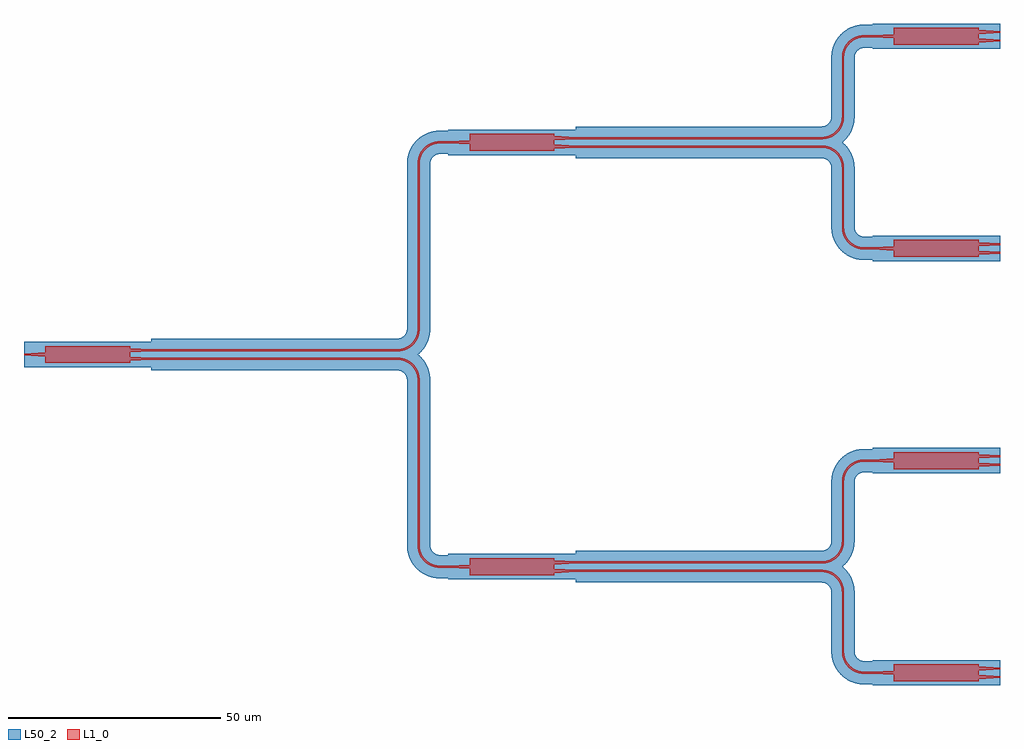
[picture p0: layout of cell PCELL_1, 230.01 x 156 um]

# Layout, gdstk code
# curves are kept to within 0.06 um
import gdstk
lib = gdstk.Library(unit=1e-6, precision=1e-09)
def R(c, l, rs):  # rectangles x0, y0, x1, y1
    for r in rs: c.add(gdstk.rectangle(r[:2], r[2:], *l))
def P(c, l, *ps):  # polygons
    for p in ps: c.add(gdstk.Polygon(p, *l))
L1_0 = (1, 0)
L50_2 = (50, 2)

mmi1x2_2 = lib.new_cell('MMI1x2_2')
R(mmi1x2_2, L1_0, [(0,-2,20.006,2)])
P(mmi1x2_2, L1_0, [(-5,-0.225),(-5,0.225),(0,0.5),(0,-0.5)],
  [(20.006,0.5),(20.006,1.5),(25.006,1.225),(25.006,0.775)],
  [(20.006,-1.5),(20.006,-0.5),(25.006,-0.775),(25.006,-1.225)])
R(mmi1x2_2, L50_2, [(-5,-3,25.006,3)])

pcell_1_sp_0_0_out1_to_s = lib.new_cell('PCELL_1_sp_0_0_out1_to_sp_1_0_in1')
P(pcell_1_sp_0_0_out1_to_s, L1_0, [(25.006,-1.225),(83.082,-1.226),(83.82,-1.296),(84.46,-1.454),(85.146,-1.734),(85.713,-2.07),(86.519,-2.772),(87.149,-3.636),(87.571,-4.619),(87.769,-5.753),(87.775,-45.001),(87.869,-45.986),(88.181,-47.02),(88.752,-48.042),(89.468,-48.851),(90.336,-49.495),(91.232,-49.917),(92.192,-50.162),(92.82,-50.222),(95,-50.225),(95,-49.775),(92.835,-49.772),(92.18,-49.704),(91.307,-49.465),(90.425,-49.021),(89.712,-48.463),(89.07,-47.713),(88.596,-46.846),(88.311,-45.901),(88.225,-44.999),(88.218,-5.73),(88.027,-4.575),(87.584,-3.492),(86.851,-2.468),(85.968,-1.7),(85.267,-1.292),(84.511,-0.998),(83.808,-0.838),(83.001,-0.775),(25.006,-0.775)])
P(pcell_1_sp_0_0_out1_to_s, L50_2, [(25.006,-3.725),(83.039,-3.725),(83.733,-3.846),(84.324,-4.15),(84.996,-4.908),(85.189,-5.38),(85.274,-5.921),(85.275,-45.012),(85.44,-46.589),(85.928,-48.11),(86.642,-49.388),(87.681,-50.602),(88.834,-51.505),(90.136,-52.175),(91.542,-52.586),(92.6,-52.715),(95,-52.725),(95,-47.275),(92.882,-47.272),(92.048,-47.066),(91.582,-46.779),(91.197,-46.387),(90.902,-45.88),(90.752,-45.352),(90.707,-5.467),(90.395,-3.765),(89.712,-2.176),(88.693,-0.778),(87.388,0.358),(86.352,0.96),(85.362,1.355),(84.195,1.632),(83.133,1.724),(25.006,1.725)])

pcell_1_sp_0_0_out2_to_s = lib.new_cell('PCELL_1_sp_0_0_out2_to_sp_1_1_in1')
P(pcell_1_sp_0_0_out2_to_s, L1_0, [(25.006,0.775),(83.09,0.776),(83.897,0.853),(84.683,1.053),(85.428,1.373),(86.042,1.752),(86.911,2.535),(87.584,3.492),(88.027,4.575),(88.218,5.73),(88.225,44.999),(88.296,45.82),(88.565,46.77),(89.024,47.644),(89.595,48.347),(90.356,48.976),(91.23,49.435),(92.18,49.704),(92.835,49.772),(95,49.775),(95,50.225),(92.82,50.222),(92.192,50.162),(91.232,49.917),(90.336,49.495),(89.468,48.851),(88.752,48.042),(88.181,47.02),(87.869,45.986),(87.775,45.001),(87.769,5.753),(87.571,4.619),(87.149,3.636),(86.519,2.772),(85.713,2.07),(85.146,1.734),(84.46,1.454),(83.82,1.296),(83.082,1.226),(25.006,1.225)])
P(pcell_1_sp_0_0_out2_to_s, L50_2, [(25.006,-1.725),(83.133,-1.724),(84.458,-1.586),(85.614,-1.269),(86.708,-0.777),(87.712,-0.122),(88.87,0.978),(89.777,2.292),(90.395,3.765),(90.707,5.467),(90.752,45.352),(90.902,45.88),(91.197,46.387),(91.582,46.779),(92.048,47.066),(92.882,47.272),(95,47.275),(95,52.725),(92.6,52.715),(91.542,52.586),(90.136,52.175),(88.834,51.505),(87.681,50.602),(86.642,49.388),(85.928,48.11),(85.44,46.589),(85.275,45.012),(85.275,5.961),(85.05,5.013),(84.418,4.221),(83.77,3.859),(83.039,3.725),(25.006,3.725)])

pcell_1_sp_1_0_out1_to_s = lib.new_cell('PCELL_1_sp_1_0_out1_to_sp_2_0_in1')
P(pcell_1_sp_1_0_out1_to_s, L1_0, [(125.006,-51.225),(182.999,-51.225),(183.82,-51.296),(184.538,-51.48),(185.146,-51.734),(185.713,-52.07),(186.628,-52.896),(187.302,-53.928),(187.546,-54.54),(187.704,-55.18),(187.775,-56.001),(187.778,-70.18),(187.906,-71.163),(188.217,-72.103),(188.649,-72.893),(189.274,-73.663),(189.958,-74.248),(190.815,-74.746),(191.575,-75.027),(192.37,-75.187),(195,-75.225),(195,-74.775),(192.343,-74.73),(191.54,-74.546),(190.781,-74.228),(190.153,-73.834),(189.481,-73.228),(188.979,-72.575),(188.596,-71.846),(188.327,-70.982),(188.228,-70.165),(188.225,-55.999),(188.131,-55.014),(187.708,-53.733),(187.351,-53.107),(186.911,-52.535),(185.893,-51.649),(184.683,-51.053),(183.808,-50.838),(183.001,-50.775),(125.006,-50.775)])
P(pcell_1_sp_1_0_out1_to_s, L50_2, [(125.006,-53.725),(183.039,-53.725),(183.733,-53.846),(184.324,-54.15),(184.779,-54.582),(185.098,-55.12),(185.263,-55.765),(185.285,-70.4),(185.499,-71.849),(186.04,-73.352),(186.642,-74.388),(187.491,-75.415),(188.503,-76.281),(189.648,-76.96),(190.765,-77.395),(191.937,-77.652),(195,-77.725),(195,-72.275),(192.882,-72.272),(192.12,-72.098),(191.676,-71.85),(191.246,-71.449),(190.95,-70.987),(190.766,-70.429),(190.724,-55.867),(190.632,-54.805),(190.355,-53.638),(189.645,-52.061),(188.509,-50.585),(187.053,-49.424),(185.488,-48.687),(184.195,-48.368),(183.012,-48.275),(125.006,-48.275)])

pcell_1_sp_1_0_out2_to_s = lib.new_cell('PCELL_1_sp_1_0_out2_to_sp_2_1_in1')
P(pcell_1_sp_1_0_out2_to_s, L1_0, [(125.006,-49.225),(183.001,-49.225),(183.808,-49.162),(184.683,-48.947),(185.893,-48.351),(186.911,-47.465),(187.351,-46.893),(187.708,-46.267),(188.131,-44.986),(188.225,-44.001),(188.228,-29.835),(188.327,-29.018),(188.596,-28.154),(188.979,-27.425),(189.481,-26.772),(190.088,-26.216),(190.781,-25.772),(191.54,-25.454),(192.343,-25.27),(195,-25.225),(195,-24.775),(192.37,-24.813),(191.575,-24.973),(190.815,-25.254),(189.958,-25.752),(189.274,-26.337),(188.649,-27.107),(188.217,-27.897),(187.906,-28.837),(187.778,-29.82),(187.775,-43.999),(187.704,-44.82),(187.337,-45.997),(186.681,-47.041),(186.228,-47.519),(185.713,-47.93),(184.616,-48.493),(183.82,-48.704),(182.999,-48.775),(125.006,-48.775)])
P(pcell_1_sp_1_0_out2_to_s, L50_2, [(125.006,-51.725),(183.133,-51.724),(184.589,-51.56),(185.987,-51.124),(187.388,-50.358),(188.693,-49.222),(189.712,-47.824),(190.395,-46.235),(190.632,-45.195),(190.724,-44.133),(190.766,-29.571),(190.95,-29.013),(191.246,-28.551),(191.676,-28.15),(192.12,-27.902),(192.882,-27.728),(195,-27.725),(195,-22.275),(191.937,-22.348),(190.765,-22.605),(189.529,-23.099),(188.395,-23.798),(187.398,-24.681),(186.642,-25.612),(185.983,-26.769),(185.499,-28.151),(185.285,-29.6),(185.263,-44.235),(185.127,-44.807),(184.85,-45.324),(184.418,-45.779),(183.88,-46.098),(183.039,-46.275),(125.006,-46.275)])

pcell_1_sp_1_1_out1_to_s = lib.new_cell('PCELL_1_sp_1_1_out1_to_sp_2_2_in1')
P(pcell_1_sp_1_1_out1_to_s, L1_0, [(125.006,48.775),(182.999,48.775),(183.82,48.704),(184.538,48.52),(185.146,48.266),(185.713,47.93),(186.628,47.104),(187.302,46.072),(187.546,45.46),(187.704,44.82),(187.775,43.999),(187.778,29.82),(187.906,28.837),(188.217,27.897),(188.649,27.107),(189.274,26.337),(189.958,25.752),(190.815,25.254),(191.575,24.973),(192.37,24.813),(195,24.775),(195,25.225),(192.343,25.27),(191.54,25.454),(190.781,25.772),(190.153,26.166),(189.481,26.772),(188.979,27.425),(188.596,28.154),(188.327,29.018),(188.228,29.835),(188.225,44.001),(188.131,44.986),(187.708,46.267),(187.351,46.893),(186.911,47.465),(185.893,48.351),(184.683,48.947),(183.808,49.162),(183.001,49.225),(125.006,49.225)])
P(pcell_1_sp_1_1_out1_to_s, L50_2, [(125.006,46.275),(183.039,46.275),(183.733,46.154),(184.324,45.85),(184.779,45.418),(185.098,44.88),(185.263,44.235),(185.285,29.6),(185.499,28.151),(186.04,26.648),(186.642,25.612),(187.491,24.585),(188.503,23.719),(189.648,23.04),(190.765,22.605),(191.937,22.348),(195,22.275),(195,27.725),(192.882,27.728),(192.12,27.902),(191.676,28.15),(191.246,28.551),(190.95,29.013),(190.766,29.571),(190.724,44.133),(190.632,45.195),(190.355,46.362),(189.645,47.939),(188.509,49.415),(187.053,50.576),(185.488,51.313),(184.195,51.632),(183.012,51.725),(125.006,51.725)])

pcell_1_sp_1_1_out2_to_s = lib.new_cell('PCELL_1_sp_1_1_out2_to_sp_2_3_in1')
P(pcell_1_sp_1_1_out2_to_s, L1_0, [(125.006,50.775),(183.001,50.775),(183.808,50.838),(184.683,51.053),(185.893,51.649),(186.911,52.535),(187.351,53.107),(187.708,53.733),(188.131,55.014),(188.225,55.999),(188.228,70.165),(188.327,70.982),(188.596,71.846),(188.979,72.575),(189.481,73.228),(190.088,73.784),(190.781,74.228),(191.54,74.546),(192.343,74.73),(195,74.775),(195,75.225),(192.37,75.187),(191.575,75.027),(190.815,74.746),(189.958,74.248),(189.274,73.663),(188.649,72.893),(188.217,72.103),(187.906,71.163),(187.778,70.18),(187.775,56.001),(187.704,55.18),(187.337,54.003),(186.681,52.959),(186.228,52.481),(185.713,52.07),(184.616,51.507),(183.82,51.296),(182.999,51.225),(125.006,51.225)])
P(pcell_1_sp_1_1_out2_to_s, L50_2, [(125.006,48.275),(183.133,48.276),(184.589,48.44),(185.987,48.876),(187.388,49.642),(188.693,50.778),(189.712,52.176),(190.395,53.765),(190.632,54.805),(190.724,55.867),(190.766,70.429),(190.95,70.987),(191.246,71.449),(191.676,71.85),(192.12,72.098),(192.882,72.272),(195,72.275),(195,77.725),(191.937,77.652),(190.765,77.395),(189.529,76.901),(188.395,76.202),(187.398,75.319),(186.642,74.388),(185.983,73.231),(185.499,71.849),(185.285,70.4),(185.263,55.765),(185.127,55.193),(184.85,54.676),(184.418,54.221),(183.88,53.902),(183.039,53.725),(125.006,53.725)])

pcell_1 = lib.new_cell('PCELL_1')
pcell_1.add(gdstk.Reference(mmi1x2_2, (0,0)))
pcell_1.add(gdstk.Reference(mmi1x2_2, (100,-50)))
pcell_1.add(gdstk.Reference(mmi1x2_2, (100,50)))
pcell_1.add(gdstk.Reference(mmi1x2_2, (200,-75)))
pcell_1.add(gdstk.Reference(mmi1x2_2, (200,-25)))
pcell_1.add(gdstk.Reference(mmi1x2_2, (200,25)))
pcell_1.add(gdstk.Reference(mmi1x2_2, (200,75)))
pcell_1.add(gdstk.Reference(pcell_1_sp_0_0_out1_to_s, (0,0)))
pcell_1.add(gdstk.Reference(pcell_1_sp_0_0_out2_to_s, (0,0)))
pcell_1.add(gdstk.Reference(pcell_1_sp_1_0_out1_to_s, (0,0)))
pcell_1.add(gdstk.Reference(pcell_1_sp_1_0_out2_to_s, (0,0)))
pcell_1.add(gdstk.Reference(pcell_1_sp_1_1_out1_to_s, (0,0)))
pcell_1.add(gdstk.Reference(pcell_1_sp_1_1_out2_to_s, (0,0)))

lib.write_gds('PCELL_1.gds')
